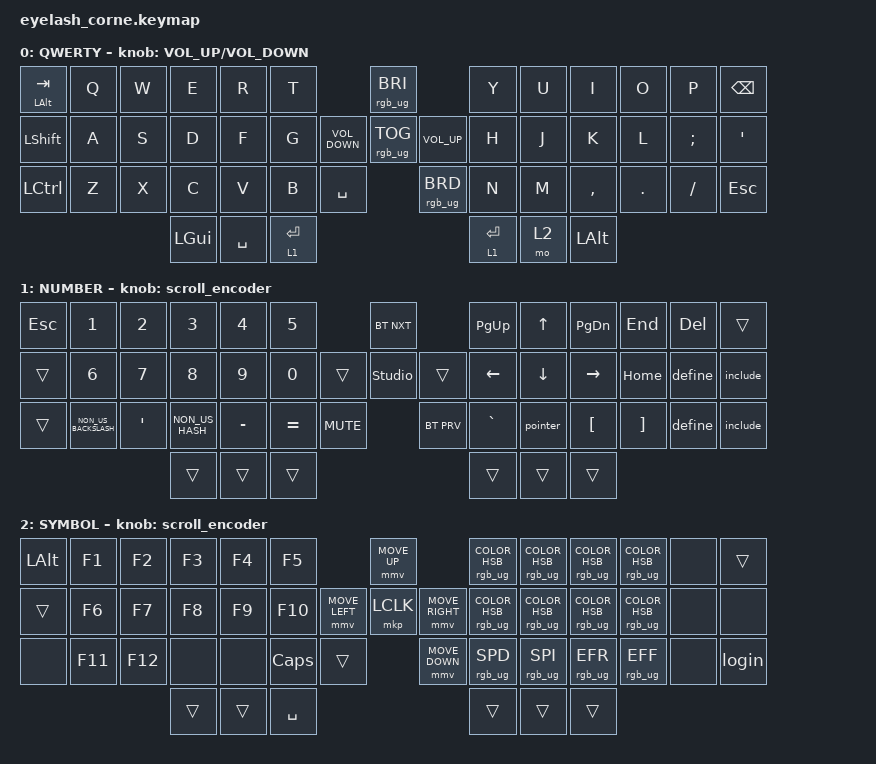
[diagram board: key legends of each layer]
#define ZMK_POINTING_DEFAULT_MOVE_VAL 1200  // 600
#define ZMK_POINTING_DEFAULT_SCRL_VAL 25   // 10

#include <input/processors.dtsi>
#include <zephyr/dt-bindings/input/input-event-codes.h>
#include <behaviors.dtsi>
#include <dt-bindings/zmk/bt.h>
#include <dt-bindings/zmk/keys.h>
#include <dt-bindings/zmk/pointing.h>
#include <dt-bindings/zmk/rgb.h>

&mmv_input_listener { input-processors = <&zip_xy_scaler 2 1>; };

&msc_input_listener { input-processors = <&zip_scroll_scaler 2 1>; };

&msc {
    acceleration-exponent = <1>;      // 0
    time-to-max-speed-ms = <100>;       // 300
    delay-ms = <0>;                   // 0
};

&mmv {
    time-to-max-speed-ms = <500>;
    acceleration-exponent = <1>;
    trigger-period-ms = <16>;
};

/ {
    behaviors {
        td0: td0 {
            compatible = "zmk,behavior-tap-dance";
            display-name = "Shift/Caps Lock Tap Dance";
            #binding-cells = <0>;
            bindings = <&kp LEFT_SHIFT>, <&kp CAPS>;
        };
    };

    rgb_encoder: rgb_encoder {
        compatible = "zmk,behavior-sensor-rotate";
        #sensor-binding-cells = <0>;
        bindings = <&rgb_ug RGB_BRI>, <&rgb_ug RGB_BRD>;
    };

    scroll_encoder: scroll_encoder {
        compatible = "zmk,behavior-sensor-rotate";
        #sensor-binding-cells = <0>;
        bindings = <&msc SCRL_DOWN>, <&msc SCRL_UP>;

        tap-ms = <100>;
    };

    macros {
        pointer: pointer {
            compatible = "zmk,behavior-macro";
            #binding-cells = <0>;
            bindings = <&kp MINUS &kp GT>;
            label = "POINTER";
        };

        define: define {
            compatible = "zmk,behavior-macro";
            #binding-cells = <0>;
            bindings = <&kp NON_US_HASH &kp D &kp E &kp F &kp I &kp N &kp E &kp SPACE>;
            label = "DEFINE";
        };

        include: include {
            compatible = "zmk,behavior-macro";
            #binding-cells = <0>;
            bindings = <&kp NON_US_HASH &kp I &kp N &kp C &kp L &kp U &kp D &kp E &kp SPACE>;
            label = "INCLUDE";
        };

        login: login {
            compatible = "zmk,behavior-macro";
            #binding-cells = <0>;
            bindings = <&kp N2 &kp N4 &kp N5 &kp N6 &kp N5 &kp N2>;
            label = "LOGIN";
        };
    };

    keymap {
        compatible = "zmk,keymap";

        default_layer {
            display-name = "QWERTY";
            bindings = <
&mt LEFT_ALT TAB  &kp Q  &kp W  &kp E     &kp R      &kp T                                        &rgb_ug RGB_BRI                   &kp Y        &kp U  &kp I         &kp O    &kp P      &kp BSPC
&kp LSHIFT        &kp A  &kp S  &kp D     &kp F      &kp G                     &kp C_VOLUME_DOWN  &rgb_ug RGB_TOG  &kp C_VOLUME_UP  &kp H        &kp J  &kp K         &kp L    &kp SEMI   &kp SQT
&kp LCTRL         &kp Z  &kp X  &kp C     &kp V      &kp B        &kp SPACE                       &rgb_ug RGB_BRD                   &kp N        &kp M  &kp COMMA     &kp DOT  &kp SLASH  &kp ESC
                                &kp LGUI  &kp SPACE  &lt 1 ENTER                                                                    &lt 1 ENTER  &mo 2  &kp LEFT_ALT
            >;

            sensor-bindings = <&inc_dec_kp C_VOLUME_UP C_VOLUME_DOWN>;
        };

        lower_layer {
            display-name = "NUMBER";
            bindings = <
&kp ESCAPE  &kp N1                &kp N2   &kp N3           &kp N4     &kp N5                           &bt BT_NXT              &kp PG_UP  &kp UP_ARROW  &kp PG_DN         &kp END            &kp DEL  &trans
&trans      &kp NUMBER_6          &kp N7   &kp N8           &kp N9     &kp N0                   &trans  &studio_unlock  &trans  &kp LEFT   &kp DOWN      &kp RIGHT         &kp HOME           &define  &include
&trans      &kp NON_US_BACKSLASH  &kp SQT  &kp NON_US_HASH  &kp MINUS  &kp EQUAL  &kp C_MUTE            &bt BT_PRV              &kp GRAVE  &pointer      &kp LEFT_BRACKET  &kp RIGHT_BRACKET  &define  &include
                                           &trans           &trans     &trans                                                   &trans     &trans        &trans
            >;

            sensor-bindings = <&scroll_encoder>;
        };

        raise_layer {
            display-name = "SYMBOL";
            bindings = <
&kp LALT  &kp F1   &kp F2   &kp F3  &kp F4  &kp F5                               &mmv MOVE_UP                     &rgb_ug RGB_COLOR_HSB(0,100,50)    &rgb_ug RGB_COLOR_HSB(136,100,50)  &rgb_ug RGB_COLOR_HSB(230,100,50)  &rgb_ug RGB_COLOR_HSB(66,100,50)  &none  &trans
&trans    &kp F6   &kp F7   &kp F8  &kp F9  &kp F10              &mmv MOVE_LEFT  &mkp LCLK       &mmv MOVE_RIGHT  &rgb_ug RGB_COLOR_HSB(174,100,50)  &rgb_ug RGB_COLOR_HSB(266,100,49)  &rgb_ug RGB_COLOR_HSB(291,100,50)  &rgb_ug RGB_COLOR_HSB(25,100,50)  &none  &none
&none     &kp F11  &kp F12  &none   &none   &kp CAPS   &trans                    &mmv MOVE_DOWN                   &rgb_ug RGB_SPD                    &rgb_ug RGB_SPI                    &rgb_ug RGB_EFR                    &rgb_ug RGB_EFF                   &none  &login
                            &trans  &trans  &kp SPACE                                                             &trans                             &trans                             &trans
            >;

            sensor-bindings = <&scroll_encoder>;
        };
    };
};
